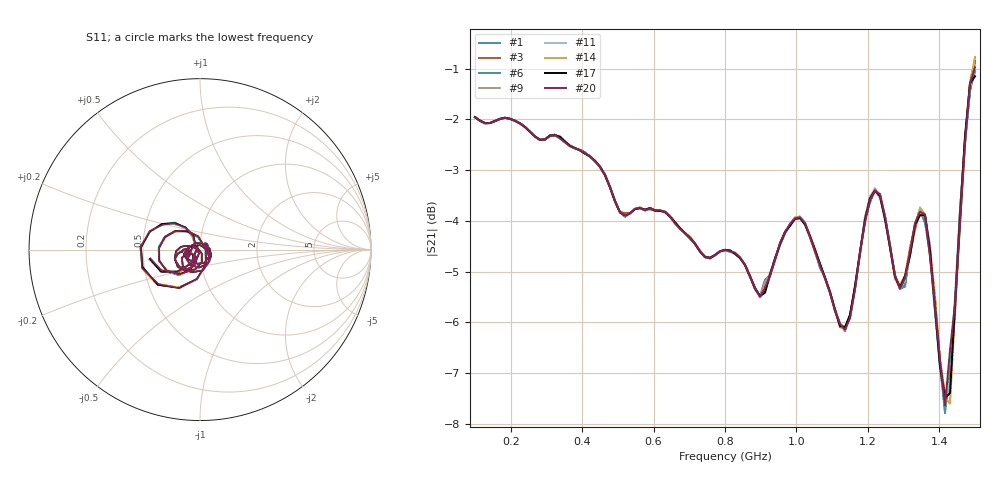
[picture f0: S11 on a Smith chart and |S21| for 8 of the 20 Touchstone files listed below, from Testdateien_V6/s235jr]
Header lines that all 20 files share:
! NanoVNA-App
! Start: 100MHz Stop: 1,5GHz Points: 101
! S-Parameter data: F S11 S21 S12 S22
# Hz S RI R 50
!  Frequency  S11_Real  S11_Imag  S21_Real  S21_Imag  S12_Real  S12_Imag  S22_Real  S22_Imag
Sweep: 100 MHz to 1.5 GHz
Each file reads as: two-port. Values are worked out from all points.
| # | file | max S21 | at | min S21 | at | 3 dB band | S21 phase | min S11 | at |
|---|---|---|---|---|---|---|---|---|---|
| 1 | s235jr (103).s2p | -1.05 dB | 1.5 GHz | -7.8 dB | 1.416 GHz | 100 MHz-660 MHz | 126 deg at 800 MHz | -35.5 dB | 1.444 GHz |
| 2 | s235jr (104).s2p | -1.06 dB | 1.5 GHz | -7.6 dB | 1.416 GHz | 100 MHz-660 MHz | 126 deg at 800 MHz | -34.8 dB | 870 MHz |
| 3 | s235jr (105).s2p | -0.85 dB | 1.5 GHz | -7.4 dB | 1.416 GHz | 100 MHz-520 MHz | 126 deg at 800 MHz | -34.8 dB | 870 MHz |
| 4 | s235jr (106).s2p | -1.05 dB | 1.5 GHz | -7.7 dB | 1.416 GHz | 100 MHz-660 MHz | 126 deg at 800 MHz | -35.1 dB | 870 MHz |
| 5 | s235jr (107).s2p | -1.00 dB | 1.5 GHz | -7.7 dB | 1.416 GHz | 100 MHz-646 MHz | 126 deg at 800 MHz | -34.7 dB | 870 MHz |
| 6 | s235jr (108).s2p | -0.88 dB | 1.5 GHz | -7.5 dB | 1.416 GHz | 100 MHz-506 MHz | 126 deg at 800 MHz | -35.0 dB | 870 MHz |
| 7 | s235jr (109).s2p | -0.84 dB | 1.5 GHz | -7.6 dB | 1.416 GHz | 100 MHz-506 MHz | 126 deg at 800 MHz | -35.0 dB | 870 MHz |
| 8 | s235jr (110).s2p | -0.94 dB | 1.5 GHz | -7.5 dB | 1.416 GHz | 100 MHz-646 MHz | 126 deg at 800 MHz | -34.8 dB | 870 MHz |
| 9 | s235jr (111).s2p | -0.94 dB | 1.5 GHz | -7.6 dB | 1.416 GHz | 100 MHz-646 MHz | 126 deg at 800 MHz | -35.0 dB | 870 MHz |
| 10 | s235jr (112).s2p | -0.95 dB | 1.5 GHz | -7.5 dB | 1.416 GHz | 100 MHz-646 MHz | 126 deg at 800 MHz | -34.8 dB | 870 MHz |
| 11 | s235jr (113).s2p | -0.91 dB | 1.5 GHz | -7.5 dB | 1.416 GHz | 100 MHz-632 MHz | 126 deg at 800 MHz | -35.0 dB | 870 MHz |
| 12 | s235jr (114).s2p | -0.92 dB | 1.5 GHz | -7.7 dB | 1.416 GHz | 100 MHz-506 MHz | 126 deg at 800 MHz | -35.1 dB | 1.444 GHz |
| 13 | s235jr (115).s2p | -1.04 dB | 1.5 GHz | -7.5 dB | 1.416 GHz | 100 MHz-660 MHz | 126 deg at 800 MHz | -34.7 dB | 870 MHz |
| 14 | s235jr (116).s2p | -0.78 dB | 1.5 GHz | -7.6 dB | 1.43 GHz | 100 MHz-492 MHz | 126 deg at 800 MHz | -35.0 dB | 870 MHz |
| 15 | s235jr (117).s2p | -1.04 dB | 1.5 GHz | -7.8 dB | 1.43 GHz | 100 MHz-646 MHz | 126 deg at 800 MHz | -35.1 dB | 870 MHz |
| 16 | s235jr (118).s2p | -1.06 dB | 1.5 GHz | -7.5 dB | 1.416 GHz | 100 MHz-646 MHz | 126 deg at 800 MHz | -34.9 dB | 870 MHz |
| 17 | s235jr (119).s2p | -1.15 dB | 1.5 GHz | -7.5 dB | 1.416 GHz | 100 MHz-674 MHz | 126 deg at 800 MHz | -34.8 dB | 870 MHz |
| 18 | s235jr (120).s2p | -0.93 dB | 1.5 GHz | -7.4 dB | 1.416 GHz | 100 MHz-646 MHz | 126 deg at 800 MHz | -35.2 dB | 870 MHz |
| 19 | s235jr (121).s2p | -0.88 dB | 1.5 GHz | -7.5 dB | 1.416 GHz | 100 MHz-506 MHz | 126 deg at 800 MHz | -34.8 dB | 870 MHz |
| 20 | s235jr (122).s2p | -0.97 dB | 1.5 GHz | -7.6 dB | 1.416 GHz | 100 MHz-646 MHz | 126 deg at 800 MHz | -35.1 dB | 870 MHz |
